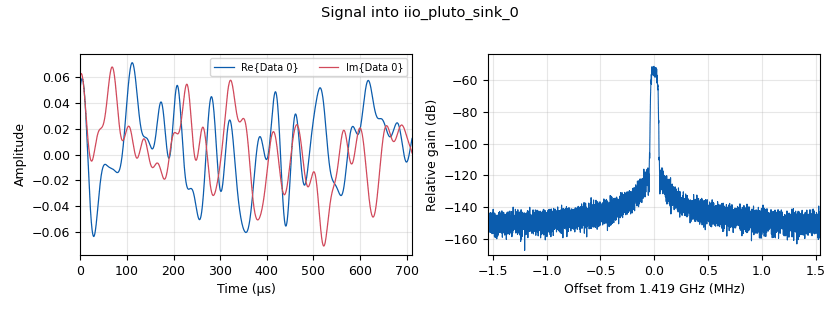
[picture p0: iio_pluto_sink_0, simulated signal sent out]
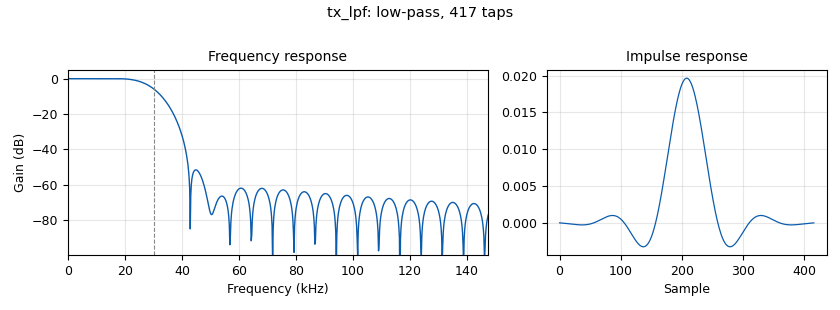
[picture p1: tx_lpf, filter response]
options:
  parameters:
    author: Mergen-21
    comment: |-
      Topology 2: Single Gaussian H-line
      Broadband noise shaped by Gaussian LPF to ~15 km/s FWHM.
      Models a single quiescent HI cloud.
    description: 'Topo 2: Single Gaussian H-line'
    generate_options: qt_gui
    id: topo2_single_gaussian
    output_language: python
    title: 'Topo 2: Single Gaussian Line'
  states: {}

blocks:
- name: LO_freq
  id: variable
  parameters:
    value: '1419000000'
  states: {}
- name: doppler_hz
  id: variable_qtgui_range
  parameters:
    gui_hint: 0,4,1,4
    label: Doppler Offset [Hz]
    start: '-500000'
    step: '1000'
    stop: '500000'
    value: '0'
  states: {}
- name: fft_size
  id: variable
  parameters:
    value: '4096'
  states: {}
- name: fwhm_hz
  id: variable
  parameters:
    comment: 15 km/s FWHM at 1420 MHz = ~71.1 kHz
    value: '71100'
  states: {}
- name: integration_time
  id: variable
  parameters:
    value: '1000'
  states: {}
- name: rf_bandwidth
  id: variable
  parameters:
    value: '3080000'
  states: {}
- name: rx_gain
  id: variable_qtgui_range
  parameters:
    gui_hint: 0,2,1,2
    label: RX Gain [dB]
    start: '0'
    step: '1'
    stop: '73'
    value: '30'
  states: {}
- name: samp_rate
  id: variable
  parameters:
    value: '3080000'
  states: {}
- name: tx_atten
  id: variable_qtgui_range
  parameters:
    gui_hint: 0,0,1,2
    label: TX Attenuation [dB]
    start: '0'
    step: '0.25'
    stop: '89.75'
    value: '50'
  states: {}
- name: blocks_complex_to_mag_squared_0
  id: blocks_complex_to_mag_squared
  parameters:
    vlen: fft_size
  states: {}
- name: blocks_integrate_xx_0
  id: blocks_integrate_xx
  parameters:
    decim: integration_time
    type: float
    vlen: fft_size
  states: {}
- name: blocks_multiply_const_vxx_0
  id: blocks_multiply_const_vxx
  parameters:
    const: (1.0/integration_time,) * fft_size
    type: float
    vlen: '4096'
  states: {}
- name: blocks_nlog10_ff_0
  id: blocks_nlog10_ff
  parameters:
    k: '0'
    n: '10'
    vlen: '4096'
  states: {}
- name: blocks_stream_to_vector_0
  id: blocks_stream_to_vector
  parameters:
    num_items: fft_size
    type: complex
  states: {}
- name: fft_vxx_0
  id: fft_vxx
  parameters:
    fft_size: fft_size
    forward: 'True'
    nthreads: '2'
    shift: 'True'
    type: complex
    window: window.blackmanharris(fft_size)
  states: {}
- name: iio_pluto_sink_0
  id: iio_pluto_sink
  parameters:
    attenuation1: tx_atten
    bandwidth: rf_bandwidth
    buffer_size: '32768'
    comment: TX Pluto
    cyclic: 'False'
    filter_source: '''Auto'''
    frequency: LO_freq
    samplerate: samp_rate
    type: fc32
    uri: ip:192.168.20.1
  states: {}
- name: pluto_rx
  id: iio_pluto_source
  parameters:
    bandwidth: rf_bandwidth
    bbdc: 'True'
    buffer_size: '32768'
    comment: RX Pluto
    filter_source: '''Auto'''
    frequency: LO_freq
    gain1: '''manual'''
    manual_gain1: rx_gain
    quadrature: 'True'
    rfdc: 'True'
    samplerate: samp_rate
    type: fc32
    uri: ip:192.168.20.1
  states: {}
- name: qtgui_freq_sink_0
  id: qtgui_freq_sink_x
  parameters:
    autoscale: 'True'
    bw: samp_rate
    fc: LO_freq
    fftsize: fft_size
    grid: 'True'
    gui_hint: 3,0,2,8
    label1: RX
    name: '"RX Quick-Look FFT"'
    type: complex
    ymax: '-20'
  states: {}
- name: qtgui_vector_sink_f_0
  id: qtgui_vector_sink_f
  parameters:
    grid: 'True'
    gui_hint: 1,0,2,8
    label1: Power
    name: '"Integrated Power Spectrum"'
    vlen: fft_size
    x_axis_label: '"Frequency (Hz)"'
    x_start: '-samp_rate/2'
    x_step: samp_rate/fft_size
    x_units: '"Hz"'
    y_axis_label: '"Power"'
    ymax: '1'
    ymin: '0'
  states: {}
- name: tx_lpf
  id: low_pass_filter
  parameters:
    comment: |-
      Shapes noise to Gaussian linewidth.
      cutoff = sigma_f = FWHM/2.355
    cutoff_freq: fwhm_hz / 2.355
    decim: '1'
    gain: '1'
    samp_rate: samp_rate
    type: fir_filter_ccf
    width: fwhm_hz / 4
    win: window.WIN_HAMMING
  states: {}
- name: tx_noise
  id: analog_noise_source_x
  parameters:
    amp: '0.3'
    comment: Broadband Gaussian noise
    noise_type: analog.GR_GAUSSIAN
    seed: '0'
    type: complex
  states: {}
- name: tx_rotator
  id: blocks_rotator_cc
  parameters:
    comment: Doppler frequency shift
    phase_inc: 2.0 * 3.14159265 * doppler_hz / samp_rate
  states: {}

connections:
- [blocks_complex_to_mag_squared_0, '0', blocks_integrate_xx_0, '0']
- [blocks_integrate_xx_0, '0', blocks_multiply_const_vxx_0, '0']
- [blocks_multiply_const_vxx_0, '0', blocks_nlog10_ff_0, '0']
- [blocks_nlog10_ff_0, '0', qtgui_vector_sink_f_0, '0']
- [blocks_stream_to_vector_0, '0', fft_vxx_0, '0']
- [fft_vxx_0, '0', blocks_complex_to_mag_squared_0, '0']
- [pluto_rx, '0', blocks_stream_to_vector_0, '0']
- [pluto_rx, '0', qtgui_freq_sink_0, '0']
- [tx_lpf, '0', tx_rotator, '0']
- [tx_noise, '0', tx_lpf, '0']
- [tx_rotator, '0', iio_pluto_sink_0, '0']

metadata:
  file_format: 1
  grc_version: 3.10.12.0
